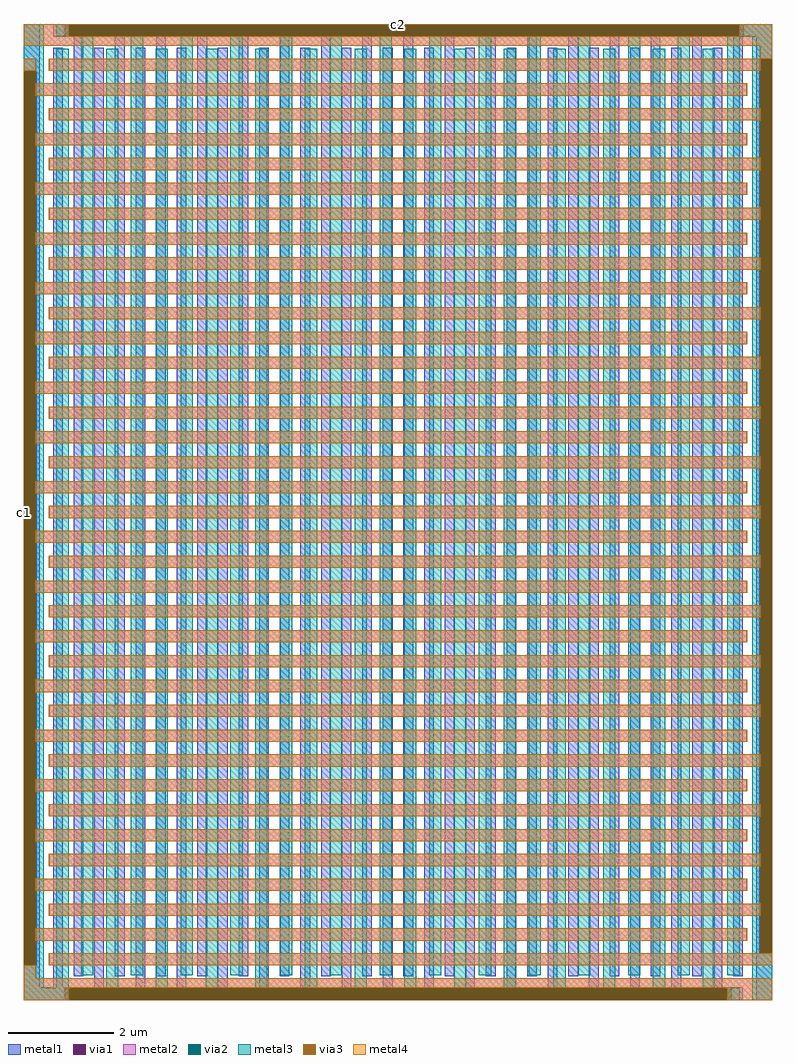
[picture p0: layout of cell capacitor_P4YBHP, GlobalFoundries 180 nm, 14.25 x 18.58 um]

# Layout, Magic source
magic
tech gf180mcuD
magscale 3 26
<< metal1 >>
rect 0 3066 53 3220
rect 97 3219 2470 3220
rect 97 3179 135 3219
rect 2375 3179 2470 3219
rect 97 3178 2470 3179
rect 0 114 1 3066
rect 41 114 53 3066
rect 0 42 53 114
rect 97 42 129 3142
rect 165 78 197 3178
rect 233 42 265 3142
rect 301 78 333 3178
rect 369 42 401 3142
rect 437 78 469 3178
rect 505 42 537 3142
rect 573 78 605 3178
rect 641 42 673 3142
rect 709 78 741 3178
rect 777 42 809 3142
rect 845 78 877 3178
rect 913 42 945 3142
rect 981 78 1013 3178
rect 1049 42 1081 3142
rect 1117 78 1149 3178
rect 1185 42 1217 3142
rect 1253 78 1285 3178
rect 1321 42 1353 3142
rect 1389 78 1421 3178
rect 1457 42 1489 3142
rect 1525 78 1557 3178
rect 1593 42 1625 3142
rect 1661 78 1693 3178
rect 1729 42 1761 3142
rect 1797 78 1829 3178
rect 1865 42 1897 3142
rect 1933 78 1965 3178
rect 2001 42 2033 3142
rect 2069 78 2101 3178
rect 2137 42 2169 3142
rect 2205 78 2237 3178
rect 2273 42 2305 3142
rect 2341 78 2373 3178
rect 2417 3106 2470 3178
rect 2417 154 2429 3106
rect 2469 154 2470 3106
rect 0 41 2373 42
rect 0 1 135 41
rect 2335 1 2373 41
rect 0 0 2373 1
rect 2417 0 2470 154
<< via1 >>
rect 135 3179 2375 3219
rect 1 114 41 3066
rect 2429 154 2469 3106
rect 135 1 2335 41
<< metal2 >>
rect 0 3219 148 3220
rect 2362 3219 2470 3220
rect 0 3179 135 3219
rect 2375 3179 2470 3219
rect 0 3148 2470 3179
rect 2429 3106 2470 3148
rect 0 3066 41 3106
rect 84 3066 2429 3106
rect 41 2984 2386 3024
rect 84 2902 2429 2942
rect 41 2820 2386 2860
rect 84 2738 2429 2778
rect 41 2656 2386 2696
rect 84 2574 2429 2614
rect 41 2492 2386 2532
rect 84 2410 2429 2450
rect 41 2328 2386 2368
rect 84 2246 2429 2286
rect 41 2164 2386 2204
rect 84 2082 2429 2122
rect 41 2000 2386 2040
rect 84 1918 2429 1958
rect 41 1836 2386 1876
rect 84 1754 2429 1794
rect 41 1672 2386 1712
rect 84 1590 2429 1630
rect 41 1508 2386 1548
rect 84 1426 2429 1466
rect 41 1344 2386 1384
rect 84 1262 2429 1302
rect 41 1180 2386 1220
rect 84 1098 2429 1138
rect 41 1016 2386 1056
rect 84 934 2429 974
rect 41 852 2386 892
rect 84 770 2429 810
rect 41 688 2386 728
rect 84 606 2429 646
rect 41 524 2386 564
rect 84 442 2429 482
rect 41 360 2386 400
rect 84 278 2429 318
rect 41 196 2386 236
rect 84 114 2470 154
rect 0 72 41 114
rect 0 41 2470 72
rect 0 1 135 41
rect 2335 1 2470 41
rect 0 0 148 1
rect 2322 0 2470 1
<< via2 >>
rect 148 3219 2362 3220
rect 148 3180 2362 3219
rect 0 114 1 3066
rect 1 114 40 3066
rect 2430 154 2469 3106
rect 2469 154 2470 3106
rect 148 1 2322 40
rect 148 0 2322 1
<< metal3 >>
rect 0 3066 66 3220
rect 108 3180 148 3220
rect 2362 3180 2470 3220
rect 40 114 66 3066
rect 0 40 66 114
rect 108 40 148 3138
rect 190 82 230 3180
rect 272 40 312 3138
rect 354 82 394 3180
rect 436 40 476 3138
rect 518 82 558 3180
rect 600 40 640 3138
rect 682 82 722 3180
rect 764 40 804 3138
rect 846 82 886 3180
rect 928 40 968 3138
rect 1010 82 1050 3180
rect 1092 40 1132 3138
rect 1174 82 1214 3180
rect 1256 40 1296 3138
rect 1338 82 1378 3180
rect 1420 40 1460 3138
rect 1502 82 1542 3180
rect 1584 40 1624 3138
rect 1666 82 1706 3180
rect 1748 40 1788 3138
rect 1830 82 1870 3180
rect 1912 40 1952 3138
rect 1994 82 2034 3180
rect 2076 40 2116 3138
rect 2158 82 2198 3180
rect 2240 40 2280 3138
rect 2322 82 2362 3180
rect 2404 3106 2470 3180
rect 2404 154 2430 3106
rect 0 0 148 40
rect 2322 0 2362 40
rect 2404 0 2470 154
<< via3 >>
rect 148 3180 2362 3220
rect 0 114 40 3066
rect 2430 154 2470 3106
rect 148 0 2322 40
<< metal4 >>
rect 0 3180 148 3220
rect 2362 3180 2470 3220
rect 0 3148 2470 3180
rect 2430 3106 2470 3148
rect 0 3066 40 3106
rect 82 3066 2430 3106
rect 40 2984 2388 3024
rect 82 2902 2430 2942
rect 40 2820 2388 2860
rect 82 2738 2430 2778
rect 40 2656 2388 2696
rect 82 2574 2430 2614
rect 40 2492 2388 2532
rect 82 2410 2430 2450
rect 40 2328 2388 2368
rect 82 2246 2430 2286
rect 40 2164 2388 2204
rect 82 2082 2430 2122
rect 40 2000 2388 2040
rect 82 1918 2430 1958
rect 40 1836 2388 1876
rect 82 1754 2430 1794
rect 40 1672 2388 1712
rect 82 1590 2430 1630
rect 40 1508 2388 1548
rect 82 1426 2430 1466
rect 40 1344 2388 1384
rect 82 1262 2430 1302
rect 40 1180 2388 1220
rect 82 1098 2430 1138
rect 40 1016 2388 1056
rect 82 934 2430 974
rect 40 852 2388 892
rect 82 770 2430 810
rect 40 688 2388 728
rect 82 606 2430 646
rect 40 524 2388 564
rect 82 442 2430 482
rect 40 360 2388 400
rect 82 278 2430 318
rect 40 196 2388 236
rect 82 114 2470 154
rect 0 72 40 114
rect 0 40 2470 72
rect 0 0 148 40
rect 2322 0 2470 40
<< labels >>
rlabel via3 2 1610 2 1610 0 c1
port 1 nsew
rlabel via3 1235 3218 1235 3218 0 c2
port 2 nsew
<< properties >>
string device csubckt cap_cmomf 0 0 1 1 w=12.35u l=16.1u mmin=1 mmax=4 subblock=0 mm_ok=1 c1 0 0 c2 0 0
string FIXED_BBOX 0 0 2470 3220
string gencell cap_cmomf
string library gf180mcu
string parameters w 12.35 l 16.1 value 255.901 class capacitor mmin metal1 mmax metal4 square 0 subblock 0 lmin 2.00 wmin 2.00 lmax 100.0 wmax 100.0
<< end >>
